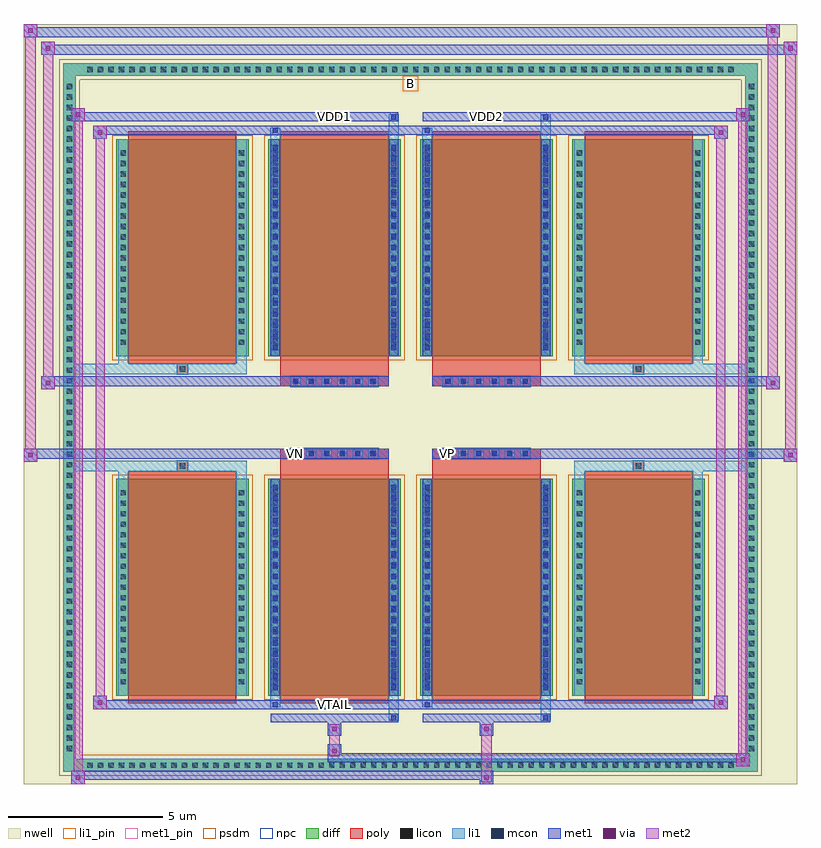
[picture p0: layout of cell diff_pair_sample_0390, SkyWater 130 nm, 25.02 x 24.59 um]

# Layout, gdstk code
import gdstk
lib = gdstk.Library(unit=1e-6, precision=5e-09)
def R(c, l, rs):  # rectangles x0, y0, x1, y1
    for r in rs: c.add(gdstk.rectangle(r[:2], r[2:], *l))
def A(c, l, x, y, w, h, nx, ny, dx, dy):  # array of equal rectangles
    R(c, l, [(x+i*dx, y+j*dy, x+i*dx+w, y+j*dy+h) for i in range(nx) for j in range(ny)])
def P(c, l, *ps):  # polygons
    for p in ps: c.add(gdstk.Polygon(p, *l))
nwell = (64, 20)
diff = (65, 20)
poly = (66, 20)
licon = (66, 44)
li1_pin = (67, 16)
li1 = (67, 20)
mcon = (67, 44)
met1_pin = (68, 16)
met1 = (68, 20)
via = (68, 44)
met2 = (69, 20)
psdm = (94, 20)
npc = (95, 20)

diff_pair_sample_0390 = lib.new_cell('diff_pair_sample_0390')
R(diff_pair_sample_0390, nwell, [(-12.51,-11.86,12.51,12.73), (-9.83,-10.05,-0.01,-0.805), (0.01,-10.05,9.83,-0.805), (-9.83,0.805,-0.01,10.05), (0.01,0.805,9.83,10.05)])
A(diff_pair_sample_0390, diff, -10.575, -11.46, 0.41, 0.41, 62, 2, 0.34, 22.51)
A(diff_pair_sample_0390, diff, -11.24, -10.915, 0.41, 0.41, 1, 64, 0, 0.34)
A(diff_pair_sample_0390, diff, 10.83, -10.915, 0.41, 0.41, 1, 64, 0, 0.34)
A(diff_pair_sample_0390, diff, -9.52, -9.005, 4.28, 7.02, 4, 2, 4.92, 10.99)
R(diff_pair_sample_0390, diff, [(-10.575,-11.46,10.575,-11.05), (-11.24,-10.915,-10.83,10.915), (10.83,-10.915,11.24,10.915), (-10.575,11.05,10.575,11.46)])
P(diff_pair_sample_0390, diff, [(11.24,11.46),(-11.24,11.46),(-11.24,-11.05),(-10.83,-11.05),(-10.83,11.05),(10.83,11.05),(10.83,-11.05),(-10.83,-11.05),(-11.24,-11.05),(-11.24,-11.46),(11.24,-11.46)])
A(diff_pair_sample_0390, poly, -9.13, -9.255, 3.5, 7.52, 4, 2, 4.92, 10.99)
A(diff_pair_sample_0390, poly, -3.875, -1.335, 0.33, 0.33, 6, 2, 0.5, 2.34)
A(diff_pair_sample_0390, poly, 1.045, -1.335, 0.33, 0.33, 6, 2, 0.5, 2.34)
R(diff_pair_sample_0390, poly, [(-7.545,-1.735,-7.215,-1.405), (-7.545,-1.735,-7.215,-1.405), (-4.21,-1.735,-0.71,-1.335), (0.71,-1.735,4.21,-1.335), (7.215,-1.735,7.545,-1.405), (7.215,-1.735,7.545,-1.405), (-4.21,-1.335,-0.71,-1.005), (0.71,-1.335,4.21,-1.005), (-4.21,1.005,-0.71,1.335), (0.71,1.005,4.21,1.335), (-4.21,1.335,-0.71,1.735), (0.71,1.335,4.21,1.735), (-7.545,1.405,-7.215,1.735), (-7.545,1.405,-7.215,1.735), (7.215,1.405,7.545,1.735), (7.215,1.405,7.545,1.735)])
A(diff_pair_sample_0390, licon, -10.455, -11.34, 0.17, 0.17, 62, 2, 0.34, 22.51)
A(diff_pair_sample_0390, licon, -11.12, -10.795, 0.17, 0.17, 1, 64, 0, 0.34)
A(diff_pair_sample_0390, licon, 10.95, -10.795, 0.17, 0.17, 1, 64, 0, 0.34)
A(diff_pair_sample_0390, licon, -9.38, -8.64, 0.17, 0.17, 1, 19, 0, 0.34)
A(diff_pair_sample_0390, licon, -5.55, -8.64, 0.17, 0.17, 1, 19, 0, 0.34)
A(diff_pair_sample_0390, licon, -4.46, -8.64, 0.17, 0.17, 1, 19, 0, 0.34)
A(diff_pair_sample_0390, licon, -0.63, -8.64, 0.17, 0.17, 1, 19, 0, 0.34)
A(diff_pair_sample_0390, licon, 0.46, -8.64, 0.17, 0.17, 1, 19, 0, 0.34)
A(diff_pair_sample_0390, licon, 4.29, -8.64, 0.17, 0.17, 1, 19, 0, 0.34)
A(diff_pair_sample_0390, licon, 5.38, -8.64, 0.17, 0.17, 1, 19, 0, 0.34)
A(diff_pair_sample_0390, licon, 9.21, -8.64, 0.17, 0.17, 1, 19, 0, 0.34)
A(diff_pair_sample_0390, licon, -3.795, -1.255, 0.17, 0.17, 6, 2, 0.5, 2.34)
A(diff_pair_sample_0390, licon, 1.125, -1.255, 0.17, 0.17, 6, 2, 0.5, 2.34)
A(diff_pair_sample_0390, licon, -9.38, 2.35, 0.17, 0.17, 1, 19, 0, 0.34)
A(diff_pair_sample_0390, licon, -5.55, 2.35, 0.17, 0.17, 1, 19, 0, 0.34)
A(diff_pair_sample_0390, licon, -4.46, 2.35, 0.17, 0.17, 1, 19, 0, 0.34)
A(diff_pair_sample_0390, licon, -0.63, 2.35, 0.17, 0.17, 1, 19, 0, 0.34)
A(diff_pair_sample_0390, licon, 0.46, 2.35, 0.17, 0.17, 1, 19, 0, 0.34)
A(diff_pair_sample_0390, licon, 4.29, 2.35, 0.17, 0.17, 1, 19, 0, 0.34)
A(diff_pair_sample_0390, licon, 5.38, 2.35, 0.17, 0.17, 1, 19, 0, 0.34)
A(diff_pair_sample_0390, licon, 9.21, 2.35, 0.17, 0.17, 1, 19, 0, 0.34)
R(diff_pair_sample_0390, licon, [(-7.465,-1.655,-7.295,-1.485), (7.295,-1.655,7.465,-1.485), (-7.465,1.485,-7.295,1.655), (7.295,1.485,7.465,1.655)])
R(diff_pair_sample_0390, li1_pin, [(-0.25,10.55,0.25,11.05)])
A(diff_pair_sample_0390, li1, -10.535, -11.42, 0.33, 0.33, 62, 2, 0.34, 22.51)
A(diff_pair_sample_0390, li1, -11.2, -10.875, 0.33, 0.33, 1, 64, 0, 0.34)
A(diff_pair_sample_0390, li1, 10.87, -10.875, 0.33, 0.33, 1, 64, 0, 0.34)
A(diff_pair_sample_0390, li1, -4.46, -8.82, 0.17, 0.17, 1, 19, 0, 0.36)
A(diff_pair_sample_0390, li1, -0.63, -8.82, 0.17, 0.17, 1, 19, 0, 0.36)
A(diff_pair_sample_0390, li1, 0.46, -8.82, 0.17, 0.17, 1, 19, 0, 0.36)
A(diff_pair_sample_0390, li1, 4.29, -8.82, 0.17, 0.17, 1, 19, 0, 0.36)
A(diff_pair_sample_0390, li1, -9.46, -8.72, 0.33, 0.33, 1, 19, 0, 0.34)
A(diff_pair_sample_0390, li1, -5.63, -8.72, 0.33, 0.33, 1, 19, 0, 0.34)
A(diff_pair_sample_0390, li1, -4.54, -8.72, 0.33, 0.33, 1, 19, 0, 0.34)
A(diff_pair_sample_0390, li1, -0.71, -8.72, 0.33, 0.33, 1, 19, 0, 0.34)
A(diff_pair_sample_0390, li1, 0.38, -8.72, 0.33, 0.33, 1, 19, 0, 0.34)
A(diff_pair_sample_0390, li1, 4.21, -8.72, 0.33, 0.33, 1, 19, 0, 0.34)
A(diff_pair_sample_0390, li1, 5.3, -8.72, 0.33, 0.33, 1, 19, 0, 0.34)
A(diff_pair_sample_0390, li1, 9.13, -8.72, 0.33, 0.33, 1, 19, 0, 0.34)
A(diff_pair_sample_0390, li1, -3.875, -1.335, 0.33, 0.33, 6, 2, 0.5, 2.34)
A(diff_pair_sample_0390, li1, 1.045, -1.335, 0.33, 0.33, 6, 2, 0.5, 2.34)
A(diff_pair_sample_0390, li1, -4.46, 2.17, 0.17, 0.17, 1, 19, 0, 0.36)
A(diff_pair_sample_0390, li1, -0.63, 2.17, 0.17, 0.17, 1, 19, 0, 0.36)
A(diff_pair_sample_0390, li1, 0.46, 2.17, 0.17, 0.17, 1, 19, 0, 0.36)
A(diff_pair_sample_0390, li1, 4.29, 2.17, 0.17, 0.17, 1, 19, 0, 0.36)
A(diff_pair_sample_0390, li1, -9.46, 2.27, 0.33, 0.33, 1, 19, 0, 0.34)
A(diff_pair_sample_0390, li1, -5.63, 2.27, 0.33, 0.33, 1, 19, 0, 0.34)
A(diff_pair_sample_0390, li1, -4.54, 2.27, 0.33, 0.33, 1, 19, 0, 0.34)
A(diff_pair_sample_0390, li1, -0.71, 2.27, 0.33, 0.33, 1, 19, 0, 0.34)
A(diff_pair_sample_0390, li1, 0.38, 2.27, 0.33, 0.33, 1, 19, 0, 0.34)
A(diff_pair_sample_0390, li1, 4.21, 2.27, 0.33, 0.33, 1, 19, 0, 0.34)
A(diff_pair_sample_0390, li1, 5.3, 2.27, 0.33, 0.33, 1, 19, 0, 0.34)
A(diff_pair_sample_0390, li1, 9.13, 2.27, 0.33, 0.33, 1, 19, 0, 0.34)
R(diff_pair_sample_0390, li1, [(-11.24,-11.46,-10.83,-11.05), (-11.24,-11.46,-10.83,-11.05), (-10.83,-11.46,10.83,-11.05), (10.83,-11.46,11.24,-11.05), (10.83,-11.46,11.24,-11.05), (-11.24,-11.05,-10.83,11.05), (10.83,-11.05,11.24,11.05), (-0.71,-9.81,-0.38,-9.005), (-0.63,-9.81,-0.46,-9.64), (4.21,-9.81,4.54,-9.005), (4.29,-9.81,4.46,-9.64), (-4.54,-9.38,-4.21,-9.005), (-4.46,-9.38,-4.29,-9.21), (0.38,-9.38,0.71,-9.005), (0.46,-9.38,0.63,-9.21), (-9.46,-9.005,-9.13,-1.985), (-5.63,-9.005,-5.3,-1.985), (-4.54,-9.005,-4.21,-1.985), (-0.71,-9.005,-0.38,-1.985), (0.38,-9.005,0.71,-1.985), (4.21,-9.005,4.54,-1.985), (5.3,-9.005,5.63,-1.985), (9.13,-9.005,9.46,-1.985), (-4.46,-8.82,-4.29,-2.17), (-0.63,-8.82,-0.46,-2.17), (0.46,-8.82,0.63,-2.17), (4.29,-8.82,4.46,-2.17), (-9.46,-1.985,-9.13,-1.405), (-5.63,-1.985,-5.3,-1.405), (5.3,-1.985,5.63,-1.405), (9.13,-1.985,9.46,-1.405), (-11.24,-1.735,-7.545,-1.405), (-9.46,-1.735,-7.545,-1.405), (-7.545,-1.735,-7.215,-1.405), (-7.215,-1.735,-5.3,-1.405), (5.3,-1.735,7.215,-1.405), (7.215,-1.735,7.545,-1.405), (7.215,-1.735,11.24,-1.405), (7.545,-1.735,9.46,-1.405), (-11.24,1.405,-7.545,1.735), (-9.46,1.405,-7.545,1.735), (-9.46,1.405,-9.13,1.985), (-7.545,1.405,-7.215,1.735), (-7.215,1.405,-5.3,1.735), (-5.63,1.405,-5.3,1.985), (5.3,1.405,7.215,1.735), (5.3,1.405,5.63,1.985), (7.215,1.405,7.545,1.735), (7.215,1.405,11.24,1.735), (7.545,1.405,9.46,1.735), (9.13,1.405,9.46,1.985), (-9.46,1.985,-9.13,9.005), (-5.63,1.985,-5.3,9.005), (-4.54,1.985,-4.21,9.005), (-0.71,1.985,-0.38,9.005), (0.38,1.985,0.71,9.005), (4.21,1.985,4.54,9.005), (5.3,1.985,5.63,9.005), (9.13,1.985,9.46,9.005), (-4.46,2.17,-4.29,8.82), (-0.63,2.17,-0.46,8.82), (0.46,2.17,0.63,8.82), (4.29,2.17,4.46,8.82), (-4.54,9.005,-4.21,9.38), (-0.71,9.005,-0.38,9.81), (0.38,9.005,0.71,9.38), (4.21,9.005,4.54,9.81), (-4.46,9.21,-4.29,9.38), (0.46,9.21,0.63,9.38), (-0.63,9.64,-0.46,9.81), (4.29,9.64,4.46,9.81), (-11.24,11.05,-10.83,11.46), (-11.24,11.05,-10.83,11.46), (-10.83,11.05,10.83,11.46), (10.83,11.05,11.24,11.46), (10.83,11.05,11.24,11.46)])
A(diff_pair_sample_0390, mcon, -4.46, -8.82, 0.17, 0.17, 1, 19, 0, 0.36)
A(diff_pair_sample_0390, mcon, -0.63, -8.82, 0.17, 0.17, 1, 19, 0, 0.36)
A(diff_pair_sample_0390, mcon, 0.46, -8.82, 0.17, 0.17, 1, 19, 0, 0.36)
A(diff_pair_sample_0390, mcon, 4.29, -8.82, 0.17, 0.17, 1, 19, 0, 0.36)
A(diff_pair_sample_0390, mcon, -3.795, -1.255, 0.17, 0.17, 6, 2, 0.5, 2.34)
A(diff_pair_sample_0390, mcon, 1.125, -1.255, 0.17, 0.17, 6, 2, 0.5, 2.34)
A(diff_pair_sample_0390, mcon, -4.46, 2.17, 0.17, 0.17, 1, 19, 0, 0.36)
A(diff_pair_sample_0390, mcon, -0.63, 2.17, 0.17, 0.17, 1, 19, 0, 0.36)
A(diff_pair_sample_0390, mcon, 0.46, 2.17, 0.17, 0.17, 1, 19, 0, 0.36)
A(diff_pair_sample_0390, mcon, 4.29, 2.17, 0.17, 0.17, 1, 19, 0, 0.36)
R(diff_pair_sample_0390, mcon, [(-0.63,-9.81,-0.46,-9.64), (4.29,-9.81,4.46,-9.64), (-4.46,-9.38,-4.29,-9.21), (0.46,-9.38,0.63,-9.21), (-4.46,9.21,-4.29,9.38), (0.46,9.21,0.63,9.38), (-0.63,9.64,-0.46,9.81), (4.29,9.64,4.46,9.81)])
R(diff_pair_sample_0390, met1_pin, [(-2.595,-9.42,-2.325,-9.15), (-3.845,-1.295,-3.575,-1.025), (1.075,-1.295,1.345,-1.025), (-2.595,9.6,-2.325,9.87), (2.325,9.6,2.595,9.87)])
A(diff_pair_sample_0390, met1, -4.52, -8.88, 0.29, 0.29, 1, 19, 0, 0.36)
A(diff_pair_sample_0390, met1, -0.69, -8.88, 0.29, 0.29, 1, 19, 0, 0.36)
A(diff_pair_sample_0390, met1, 0.4, -8.88, 0.29, 0.29, 1, 19, 0, 0.36)
A(diff_pair_sample_0390, met1, 4.23, -8.88, 0.29, 0.29, 1, 19, 0, 0.36)
A(diff_pair_sample_0390, met1, -3.855, -1.315, 0.29, 0.29, 6, 2, 0.5, 2.34)
A(diff_pair_sample_0390, met1, 1.065, -1.315, 0.29, 0.29, 6, 2, 0.5, 2.34)
A(diff_pair_sample_0390, met1, -4.52, 2.11, 0.29, 0.29, 1, 19, 0, 0.36)
A(diff_pair_sample_0390, met1, -0.69, 2.11, 0.29, 0.29, 1, 19, 0, 0.36)
A(diff_pair_sample_0390, met1, 0.4, 2.11, 0.29, 0.29, 1, 19, 0, 0.36)
A(diff_pair_sample_0390, met1, 4.23, 2.11, 0.29, 0.29, 1, 19, 0, 0.36)
R(diff_pair_sample_0390, met1, [(-10.97,-11.86,-10.54,-11.43), (2.245,-11.86,2.675,-11.43), (-10.97,-11.72,2.675,-11.43), (10.54,-11.29,10.97,-10.86), (-2.675,-11.15,10.97,-10.86), (-2.675,-11.01,-2.245,-10.58), (-2.675,-10.3,-2.245,-9.87), (2.245,-10.3,2.675,-9.87), (-4.52,-9.87,-0.4,-9.58), (-0.69,-9.87,-0.4,-9.58), (0.4,-9.87,4.52,-9.58), (4.23,-9.87,4.52,-9.58), (-10.26,-9.44,-9.83,-9.01), (-10.26,-9.44,-4.52,-9.15), (-4.52,-9.44,-4.23,-9.15), (-4.52,-9.44,-0.4,-9.15), (-0.4,-9.44,0.4,-9.15), (0.4,-9.44,0.69,-9.15), (0.4,-9.44,4.52,-9.15), (4.52,-9.44,10.26,-9.15), (9.83,-9.44,10.26,-9.01), (-4.52,-9.005,-4.23,-1.985), (-0.69,-9.005,-0.4,-1.985), (0.4,-9.005,0.69,-1.985), (4.23,-9.005,4.52,-1.985), (-12.51,-1.435,-12.08,-1.005), (12.08,-1.435,12.51,-1.005), (-12.51,-1.335,-0.71,-1.005), (-4.21,-1.335,-0.71,-1.005), (0.71,-1.335,4.21,-1.005), (0.71,-1.335,12.51,-1.005), (-11.94,0.905,-11.51,1.335), (11.51,0.905,11.94,1.335), (-11.94,1.005,-4.21,1.335), (-4.21,1.005,-0.71,1.335), (0.71,1.005,4.21,1.335), (4.21,1.005,11.94,1.335), (-4.52,1.985,-4.23,9.005), (-0.69,1.985,-0.4,9.005), (0.4,1.985,0.69,9.005), (4.23,1.985,4.52,9.005), (-10.26,9.01,-9.83,9.44), (9.83,9.01,10.26,9.44), (-10.26,9.15,-4.52,9.44), (-4.52,9.15,-4.23,9.44), (-4.52,9.15,-0.4,9.44), (-0.4,9.15,0.4,9.44), (0.4,9.15,0.69,9.44), (0.4,9.15,4.52,9.44), (4.52,9.15,10.26,9.44), (-10.97,9.58,-10.54,10.01), (-10.97,9.58,-4.52,9.87), (-4.52,9.58,-0.4,9.87), (-0.69,9.58,-0.4,9.87), (0.4,9.58,4.52,9.87), (4.23,9.58,4.52,9.87), (4.52,9.58,10.97,9.87), (10.54,9.58,10.97,10.01), (-11.94,11.73,-11.51,12.16), (-11.94,11.73,-9.83,12.06), (-9.83,11.73,9.83,12.06), (9.83,11.73,12.51,12.06), (12.08,11.73,12.51,12.16), (-12.51,12.3,-12.08,12.73), (-12.51,12.3,-9.83,12.63), (-9.83,12.3,9.83,12.63), (9.83,12.3,11.94,12.63), (11.51,12.3,11.94,12.73)])
R(diff_pair_sample_0390, via, [(-10.83,-11.72,-10.68,-11.57), (2.385,-11.72,2.535,-11.57), (10.68,-11.15,10.83,-11), (-2.535,-10.87,-2.385,-10.72), (-2.535,-10.16,-2.385,-10.01), (2.385,-10.16,2.535,-10.01), (-10.12,-9.3,-9.97,-9.15), (9.97,-9.3,10.12,-9.15), (-12.37,-1.295,-12.22,-1.145), (12.22,-1.295,12.37,-1.145), (-11.8,1.045,-11.65,1.195), (11.65,1.045,11.8,1.195), (-10.12,9.15,-9.97,9.3), (9.97,9.15,10.12,9.3), (-10.83,9.72,-10.68,9.87), (10.68,9.72,10.83,9.87), (-11.8,11.87,-11.65,12.02), (12.22,11.87,12.37,12.02), (-12.37,12.44,-12.22,12.59), (11.65,12.44,11.8,12.59)])
R(diff_pair_sample_0390, met2, [(-10.97,-11.86,-10.54,-11.43), (-10.9,-11.86,-10.61,10.01), (-10.61,-11.86,-10.54,-11.43), (-10.92,-11.81,-10.59,-11.48), (2.295,-11.81,2.625,-11.48), (2.295,-11.48,2.625,-10.25), (10.54,-11.29,10.97,-10.86), (10.61,-11.29,10.9,10.01), (10.9,-11.29,10.97,-10.86), (10.59,-11.24,10.92,-10.91), (-2.625,-10.96,-2.295,-10.63), (-2.625,-10.63,-2.295,-10.25), (-2.625,-10.25,-2.295,-9.92), (2.295,-10.25,2.625,-9.92), (-10.26,-9.44,-9.83,-9.01), (-10.19,-9.44,-9.9,9.44), (-9.9,-9.44,-9.83,-9.01), (9.83,-9.44,10.26,-9.01), (9.9,-9.44,10.19,9.44), (10.19,-9.44,10.26,-9.01), (-10.21,-9.39,-9.88,-9.06), (9.88,-9.39,10.21,-9.06), (-12.51,-1.435,-12.08,-1.005), (-12.46,-1.435,-12.13,12.73), (-12.13,-1.435,-12.08,-1.005), (12.08,-1.435,12.51,-1.005), (12.13,-1.435,12.46,12.16), (12.46,-1.435,12.51,-1.005), (-12.46,-1.385,-12.13,-1.055), (12.13,-1.385,12.46,-1.055), (-11.94,0.905,-11.51,1.335), (-11.89,0.905,-11.56,12.16), (-11.56,0.905,-11.51,1.335), (11.51,0.905,11.94,1.335), (11.56,0.905,11.89,12.73), (11.89,0.905,11.94,1.335), (-11.89,0.955,-11.56,1.285), (11.56,0.955,11.89,1.285), (-10.26,9.01,-9.83,9.44), (-9.9,9.01,-9.83,9.44), (9.83,9.01,10.26,9.44), (10.19,9.01,10.26,9.44), (-10.21,9.06,-9.88,9.39), (9.88,9.06,10.21,9.39), (-10.97,9.58,-10.54,10.01), (-10.61,9.58,-10.54,10.01), (10.54,9.58,10.97,10.01), (10.9,9.58,10.97,10.01), (-10.92,9.63,-10.59,9.96), (10.59,9.63,10.92,9.96), (-11.94,11.73,-11.51,12.16), (-11.56,11.73,-11.51,12.16), (12.08,11.73,12.51,12.16), (12.46,11.73,12.51,12.16), (-11.89,11.78,-11.56,12.11), (12.13,11.78,12.46,12.11), (-12.51,12.3,-12.08,12.73), (-12.13,12.3,-12.08,12.73), (11.51,12.3,11.94,12.73), (11.89,12.3,11.94,12.73), (-12.46,12.35,-12.13,12.68), (11.56,12.35,11.89,12.68)])
A(diff_pair_sample_0390, psdm, -9.65, -9.135, 4.54, 7.28, 4, 2, 4.92, 10.99)
P(diff_pair_sample_0390, psdm, [(11.37,11.59),(-11.37,11.59),(-11.37,-10.92),(-10.7,-10.92),(-10.7,10.92),(10.7,10.92),(10.7,-10.92),(-10.7,-10.92),(-11.37,-10.92),(-11.37,-11.59),(11.37,-11.59)])
A(diff_pair_sample_0390, npc, -3.895, -1.355, 0.37, 0.37, 6, 2, 0.5, 2.34)
A(diff_pair_sample_0390, npc, 1.025, -1.355, 0.37, 0.37, 6, 2, 0.5, 2.34)
R(diff_pair_sample_0390, npc, [(-7.565,-1.755,-7.195,-1.385), (7.195,-1.755,7.565,-1.385), (-3.895,-1.355,-3.025,-0.985), (-3.895,-1.355,-3.025,-0.985), (-3.395,-1.355,-2.525,-0.985), (-3.395,-1.355,-2.525,-0.985), (-2.895,-1.355,-2.025,-0.985), (-2.895,-1.355,-2.025,-0.985), (-2.395,-1.355,-1.525,-0.985), (-2.395,-1.355,-1.525,-0.985), (-1.895,-1.355,-1.025,-0.985), (-1.895,-1.355,-1.025,-0.985), (1.025,-1.355,1.895,-0.985), (1.025,-1.355,1.895,-0.985), (1.525,-1.355,2.395,-0.985), (1.525,-1.355,2.395,-0.985), (2.025,-1.355,2.895,-0.985), (2.025,-1.355,2.895,-0.985), (2.525,-1.355,3.395,-0.985), (2.525,-1.355,3.395,-0.985), (3.025,-1.355,3.895,-0.985), (3.025,-1.355,3.895,-0.985), (-3.895,0.985,-3.025,1.355), (-3.895,0.985,-3.025,1.355), (-3.395,0.985,-2.525,1.355), (-3.395,0.985,-2.525,1.355), (-2.895,0.985,-2.025,1.355), (-2.895,0.985,-2.025,1.355), (-2.395,0.985,-1.525,1.355), (-2.395,0.985,-1.525,1.355), (-1.895,0.985,-1.025,1.355), (-1.895,0.985,-1.025,1.355), (1.025,0.985,1.895,1.355), (1.025,0.985,1.895,1.355), (1.525,0.985,2.395,1.355), (1.525,0.985,2.395,1.355), (2.025,0.985,2.895,1.355), (2.025,0.985,2.895,1.355), (2.525,0.985,3.395,1.355), (2.525,0.985,3.395,1.355), (3.025,0.985,3.895,1.355), (3.025,0.985,3.895,1.355), (-7.565,1.385,-7.195,1.755), (7.195,1.385,7.565,1.755)])
diff_pair_sample_0390.add(gdstk.Label('VTAIL', (-2.46,-9.285), layer=68, texttype=5))
diff_pair_sample_0390.add(gdstk.Label('VN', (-3.71,-1.16), layer=68, texttype=5))
diff_pair_sample_0390.add(gdstk.Label('VP', (1.21,-1.16), layer=68, texttype=5))
diff_pair_sample_0390.add(gdstk.Label('B', (0,10.8), layer=67, texttype=5))
diff_pair_sample_0390.add(gdstk.Label('VDD2', (2.46,9.735), layer=68, texttype=5))
diff_pair_sample_0390.add(gdstk.Label('VDD1', (-2.46,9.735), layer=68, texttype=5))

lib.write_gds('diff_pair_sample_0390.gds')
